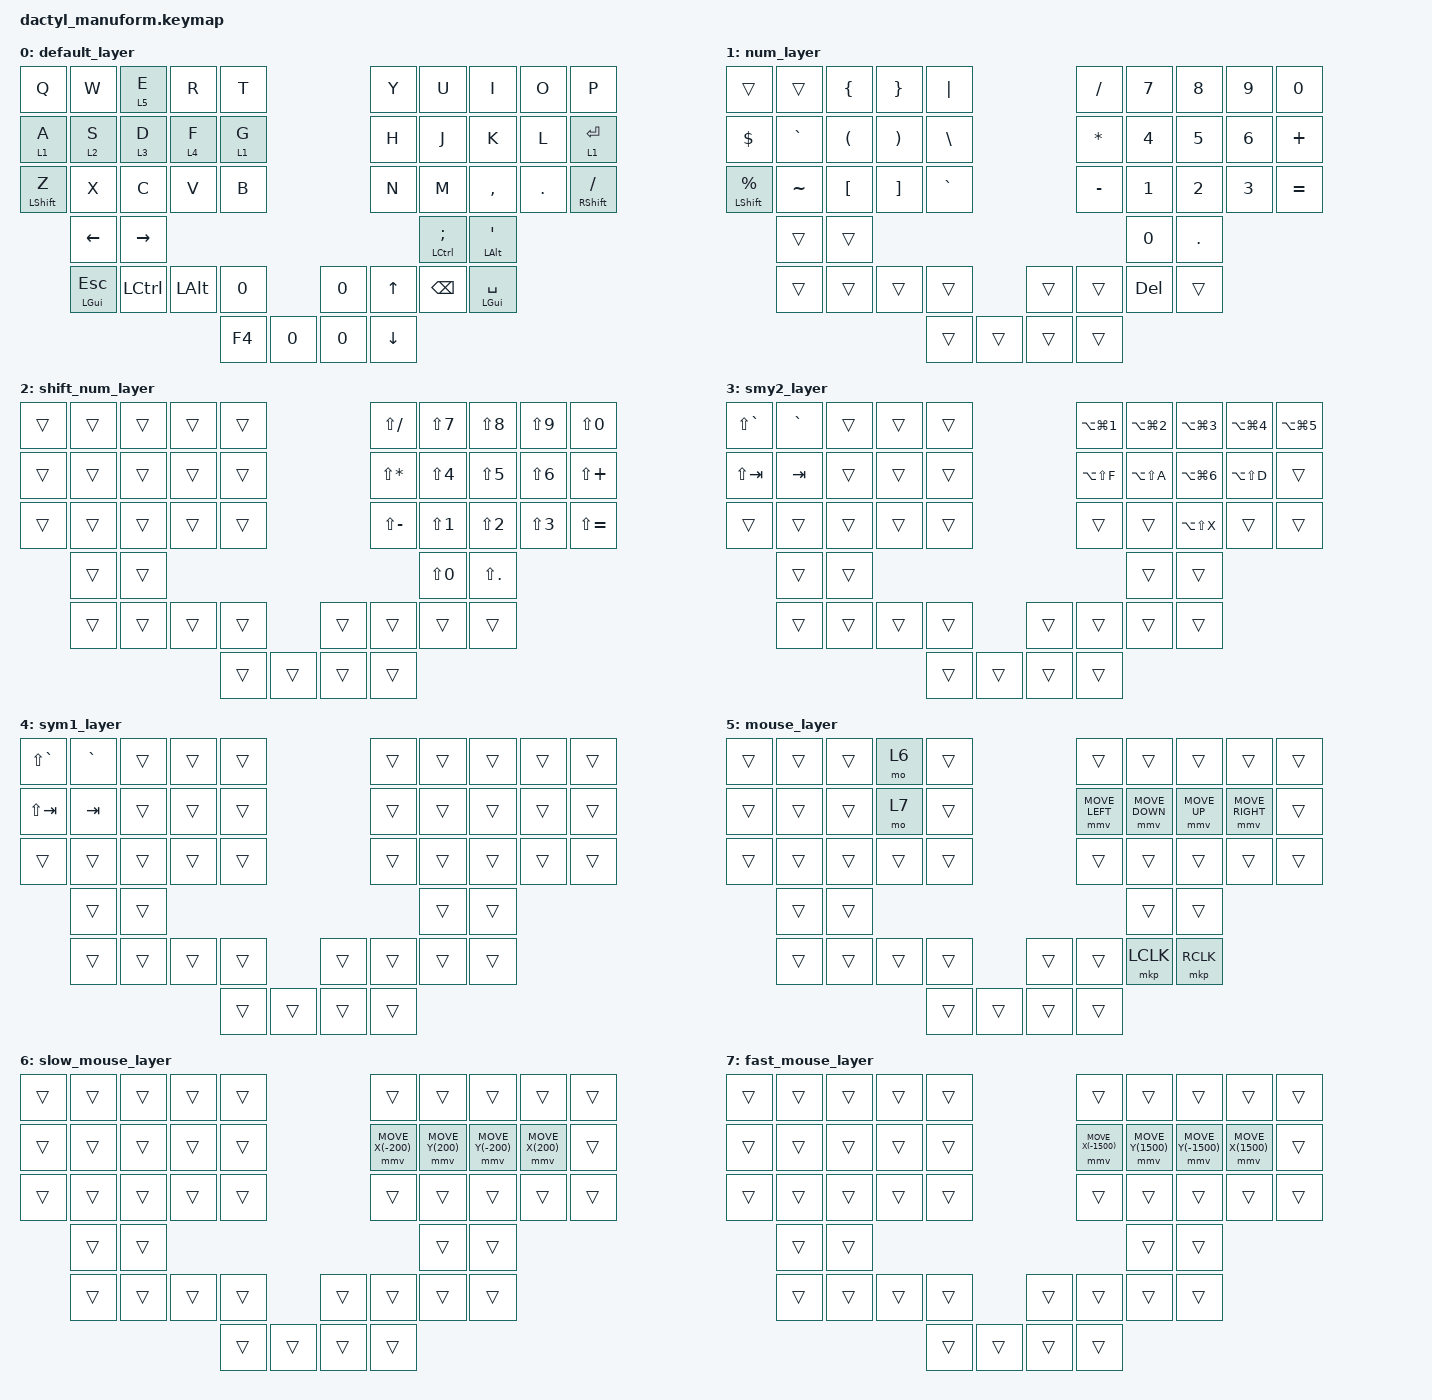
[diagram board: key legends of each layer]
#include <behaviors.dtsi>
#include <dt-bindings/zmk/keys.h>
#include <dt-bindings/zmk/pointing.h>

/ {
    combos {
        compatible = "zmk,combos";
        combo_f4 {
            timeout-ms = <50>;
            require-prior-idle-ms = <150>;
            key-positions = <35 40>;
            bindings = <&kp F4>;
            layers = <0>;
        };
    };

    keymap {
        compatible = "zmk,keymap";

        default_layer {
            // Layer 0: Base QWERTY
            // -----------------------------------------
            // Q       W       E/L5    R       T             Y       U/GUI   I/Ctl   O/Alt   P
            // A/L1    S/L2    D/L3    F/L4    G             H       J       K       L       RET/L1
            // Z/LSft  X       C       V       B             N       M       ,       .       FSLH/RSft
            //         LEFT    RIGHT                                         ;       '
            //                 Esc/GUI Ctl     Alt     -     -       UP      Bspc    SPC
            //                                 F4      -     -       DOWN
            bindings = <
                &kp Q         &kp W    &lt 5 E  &kp R    &kp T                            &kp Y    &kp U   &kp I        &kp O       &kp P
                &lt 1 A       &lt 2 S  &lt 3 D  &lt 4 F  &lt 1 G                            &kp H    &kp J        &kp K        &kp L       &lt 1 RET
                &mt LSHIFT Z  &kp X    &kp C    &kp V    &kp B                            &kp N    &kp M        &kp COMMA    &kp DOT     &mt RSHIFT FSLH
                              &kp LEFT &kp RIGHT                                                                &mt LCTRL SEMI   &mt LALT APOS
                              &mt LGUI ESC &kp LCTRL &kp LALT  &kp N0               &kp N0    &kp UP  &kp BSPC  &mt LGUI SPC
                                                     &kp F4    &kp N0               &kp N0  &kp DOWN
            >;
        };

        num_layer {
            // Layer 1: Numbers and Symbols (hold A or RET)
            // -----------------------------------------
            // _       _       {       }       |             /       7       8       9       0
            // $       `       (       )       \             *       4       5       6       +
            // %       ~       [       ]       `             -       1       2       3       =
            //         _       _                                             0       .
            //                 _       _       _       _     _       _       DEL     _
            //                                 _       _     _       _
            bindings = <
                &trans        &trans     &kp LBRC  &kp RBRC  &kp PIPE                         &kp FSLH   &kp N7  &kp N8  &kp N9  &kp N0
                &kp DOLLAR    &kp GRAVE  &kp LPAR  &kp RPAR  &kp BSLH                         &kp STAR   &kp N4  &kp N5  &kp N6  &kp PLUS
                &mt LSHIFT PERCENT   &kp TILDE  &kp LBKT  &kp RBKT  &kp GRAVE                 &kp MINUS  &kp N1  &kp N2  &kp N3  &kp EQUAL
                              &trans     &trans                                                          &kp N0  &kp DOT
                              &trans     &trans  &trans  &trans                   &trans      &trans     &kp DEL  &trans
                                                              &trans  &trans    &trans      &trans
            >;
        };

        shift_num_layer {
            // Layer 2: Shifted Symbols (hold S)
            // -----------------------------------------
            // _       _       _       _       _             ?       &       *       (       )
            // _       _       _       _       _             S-*     $       %       ^       S-+
            // _       _       _       _       _             _       !       @       #       +
            //         _       _                                             )       >
            //                 _       _       _       _     _       _       _       _
            //                                 _       _     _       _
            bindings = <
                &trans   &trans  &trans  &trans  &trans                         &kp LS(FSLH)   &kp LS(N7)  &kp LS(N8)  &kp LS(N9)  &kp LS(N0)
                &trans   &trans  &trans  &trans  &trans                         &kp LS(STAR)   &kp LS(N4)  &kp LS(N5)  &kp LS(N6)  &kp LS(PLUS)
                &trans   &trans  &trans  &trans  &trans                         &kp LS(MINUS)  &kp LS(N1)  &kp LS(N2)  &kp LS(N3)  &kp LS(EQUAL)
                         &trans  &trans                                                                    &kp LS(N0)  &kp LS(DOT)
                                                &trans     &trans  &trans  &trans           &trans      &trans     &trans  &trans
                                                              &trans  &trans    &trans      &trans
            >;
        };

        smy2_layer {
            // Layer 3: Symbols and Window Management (hold D)
            // -----------------------------------------
            // ~       `       _       _       _             A-G-1   A-G-2   A-G-3   A-G-4   A-G-5
            // S-Tab   Tab     _       _       _             A-S-F   A-S-A   A-G-6   A-S-D   _
            // _       _       _       _       _             _       _       A-S-X   _       _
            //         _       _                                             _       _
            //                 _       _       _       _     _       _       _       _
            //                                 _       _     _       _
            bindings = <
                &kp LS(GRAVE)  &kp GRAVE  &trans  &trans  &trans                  &kp LA(LG(N1))    &kp LA(LG(N2))    &kp LA(LG(N3))    &kp LA(LG(N4))    &kp LA(LG(N5))
                &kp LS(TAB)    &kp TAB  &trans  &trans  &trans                    &kp LA(LS(F))     &kp LA(LS(A))     &kp LA(LG(N6))    &kp LA(LS(D))     &trans
                &trans  &trans  &trans  &trans  &trans                              &trans            &trans            &kp LA(LS(X))     &trans            &trans
                        &trans  &trans                                                        &trans    &trans
                                &trans  &trans  &trans &trans     &trans  &trans    &trans    &trans
                                                &trans &trans     &trans  &trans
            >;
        };


        sym1_layer {
            // Layer 4: Tab/Grave (hold F)
            // -----------------------------------------
            // ~       `       _       _       _             _       _       _       _       _
            // S-Tab   Tab     _       _       _             _       _       _       _       _
            // _       _       _       _       _             _       _       _       _       _
            //         _       _                                             _       _
            //                 _       _       _       _     _       _       _       _
            //                                 _       _     _       _
            bindings = <
                &kp LS(GRAVE)  &kp GRAVE  &trans  &trans  &trans                              &trans    &trans    &trans    &trans    &trans
                &kp LS(TAB)    &kp TAB  &trans  &trans  &trans                    &trans    &trans   &trans    &trans    &trans
                &trans  &trans  &trans  &trans  &trans                              &trans    &trans    &trans    &trans    &trans
                        &trans  &trans                                                        &trans    &trans
                                &trans  &trans  &trans &trans     &trans  &trans    &trans    &trans
                                                &trans &trans     &trans  &trans
            >;
        };

        mouse_layer {
            // Layer 5: Mouse (hold E)
            // -----------------------------------------
            // _       _       _       slow/L6 _             _       _       _       _       _
            // _       _       _       fast/L7 _             LEFT    DOWN    UP      RIGHT   _
            // _       _       _       _       _             _       _       _       _       _
            //         _       _                                             _       _
            //                 _       _       _       _     _       _       LCLK    RCLK
            //                                 _       _     _       _
            bindings = <
                &trans  &trans  &trans  &mo 6   &trans                              &trans          &trans          &trans          &trans           &trans
                &trans  &trans  &trans  &mo 7   &trans                              &mmv MOVE_LEFT  &mmv MOVE_DOWN  &mmv MOVE_UP    &mmv MOVE_RIGHT  &trans
                &trans  &trans  &trans  &trans  &trans                              &trans          &trans          &trans          &trans           &trans
                        &trans  &trans                                                                              &trans          &trans
                                &trans  &trans  &trans &trans     &trans  &trans    &mkp LCLK       &mkp RCLK
                                                &trans &trans     &trans  &trans
            >;
        };

        slow_mouse_layer {
            // Layer 6: Slow Mouse (hold E+R)
            // -----------------------------------------
            // _       _       _       _       _             _       _       _       _       _
            // _       _       _       _       _             LEFT    DOWN    UP      RIGHT   _
            // _       _       _       _       _             _       _       _       _       _
            //         _       _                                             _       _
            //                 _       _       _       _     _       _       _       _
            //                                 _       _     _       _
            bindings = <
                &trans  &trans  &trans  &trans  &trans                              &trans              &trans            &trans             &trans              &trans
                &trans  &trans  &trans  &trans  &trans                              &mmv MOVE_X(-200)   &mmv MOVE_Y(200)  &mmv MOVE_Y(-200)  &mmv MOVE_X(200)   &trans
                &trans  &trans  &trans  &trans  &trans                              &trans              &trans            &trans             &trans              &trans
                        &trans  &trans                                                                                   &trans             &trans
                                &trans  &trans  &trans &trans     &trans  &trans    &trans              &trans
                                                &trans &trans     &trans  &trans
            >;
        };

        fast_mouse_layer {
            // Layer 7: Fast Mouse (hold E+F)
            // -----------------------------------------
            // _       _       _       _       _             _       _       _       _       _
            // _       _       _       _       _             LEFT    DOWN    UP      RIGHT   _
            // _       _       _       _       _             _       _       _       _       _
            //         _       _                                             _       _
            //                 _       _       _       _     _       _       _       _
            //                                 _       _     _       _
            bindings = <
                &trans  &trans  &trans  &trans  &trans                              &trans               &trans             &trans              &trans              &trans
                &trans  &trans  &trans  &trans  &trans                              &mmv MOVE_X(-1500)   &mmv MOVE_Y(1500)  &mmv MOVE_Y(-1500)  &mmv MOVE_X(1500)  &trans
                &trans  &trans  &trans  &trans  &trans                              &trans               &trans             &trans              &trans              &trans
                        &trans  &trans                                                                                     &trans              &trans
                                &trans  &trans  &trans &trans     &trans  &trans    &trans               &trans
                                                &trans &trans     &trans  &trans
            >;
        };
    };
};
